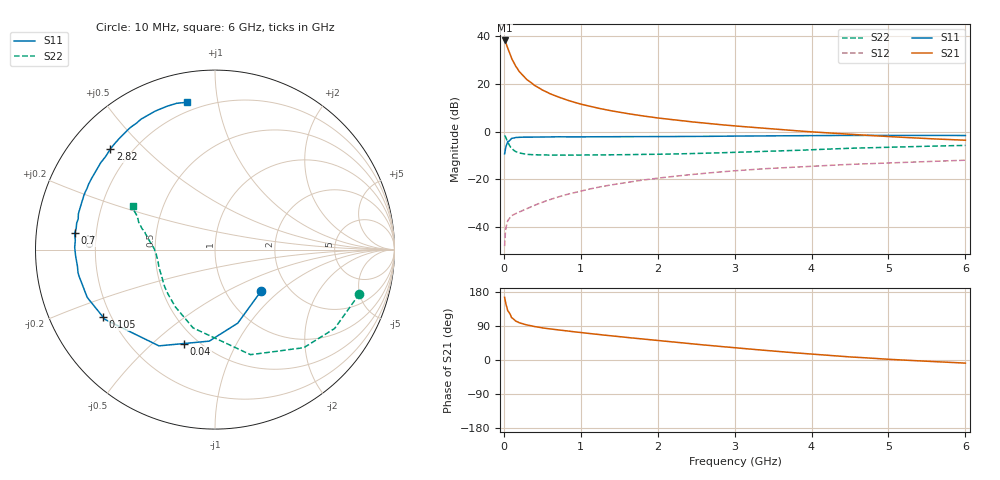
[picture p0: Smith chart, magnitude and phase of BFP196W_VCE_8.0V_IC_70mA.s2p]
! Infineon Technologies  Discrete & RF Semiconductors
! BFP196W
! VCE = 8.0 V,  IC =  70mA
! Common Emitter S-Parameters:  Jan 2016
# GHz  S  MA  R  50
!  f  S11  S21  S12  S22
! GHz  MAG  ANG  MAG  ANG  MAG  ANG  MAG  ANG
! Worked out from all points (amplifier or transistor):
!   210 points, 10 MHz to 6 GHz, reference 50 ohm
!   highest |S21| = 38.3 dB at 10 MHz (marker M1)
!   |S21| within 3 dB of that: start of sweep to 47.54 MHz
!   unconditionally stable (mu >= 1): 580.9 MHz to 3.904 GHz
!   at 185 MHz: K = 0.59, MSG = 30.0 dB, |S12| = -33.9 dB
!   at 1.52 GHz: K = 1.10, MAG = 12.9 dB, |S12| = -21.6 dB
!   at 6 GHz: K = 0.98, MSG = 4.2 dB, |S12| = -11.9 dB
!   S11 on the Smith chart (normalised r, x): 10 MHz: 1.46, -0.76; 40 MHz: 0.42, -0.64; 105 MHz: 0.17, -0.27; 700 MHz: 0.12, +0.06; 2.82 GHz: 0.12, +0.40; 6 GHz: 0.15, +0.82
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0.01  0.3452 -41.4  82.25 165.4  0.004 76.8  0.8416 -17.0
0.02  0.429 -72.8  78.08 155.0  0.0076 66.5  0.7984 -33.4
0.03  0.511 -93.6  71.14 145.2  0.0102 60.4  0.737 -47.9
0.04  0.5508 -108.2  63.37 138.6  0.0118 54.1  0.6635 -58.6
0.05  0.6206 -120.2  56.68 130.2  0.0136 49.3  0.6179 -71.3
0.1  0.7261 -147.6  34.63 112.0  0.0174 39.8  0.4532 -105.6
0.105  0.728 -148.8  33.56 111.4  0.0176 39.8  0.4447 -107.2
0.15  0.7601 -159.5  24.2 103.0  0.0191 39.5  0.3881 -124.7
0.2  0.7658 -165.9  18.38 98.3  0.0208 41.8  0.3605 -136.5
0.26  0.7738 -170.6  14.4 94.4  0.023 45.6  0.3455 -145.2
0.3  0.7719 -173.0  12.4 92.4  0.0245 47.5  0.3363 -150.1
0.4  0.7777 -177.6  9.365 88.2  0.0288 51.5  0.3299 -157.1
0.5  0.7818 179.0  7.536 84.8  0.0332 55.1  0.3278 -162.0
0.7  0.7872 173.4  5.432 79.5  0.0427 59.3  0.3239 -167.8
1.02  0.7822 166.9  3.737 72.1  0.0583 61.3  0.3262 -172.7
1.4  0.7877 159.8  2.751 63.7  0.0772 61.0  0.33 -176.5
2.02  0.7939 149.1  1.936 51.0  0.1076 57.7  0.3387 179.1
2.82  0.8087 136.2  1.41 35.7  0.1443 51.1  0.363 173.5
3.1  0.815 132.0  1.29 30.7  0.1563 48.3  0.3753 171.0
4.1  0.8357 118.3  0.976 14.2  0.1936 39.7  0.4266 163.5
5.1  0.8421 107.8  0.779 0.9  0.2253 31.7  0.4778 156.2
6  0.8355 100.7  0.666 -8.2  0.2539 25.6  0.5184 152.4
